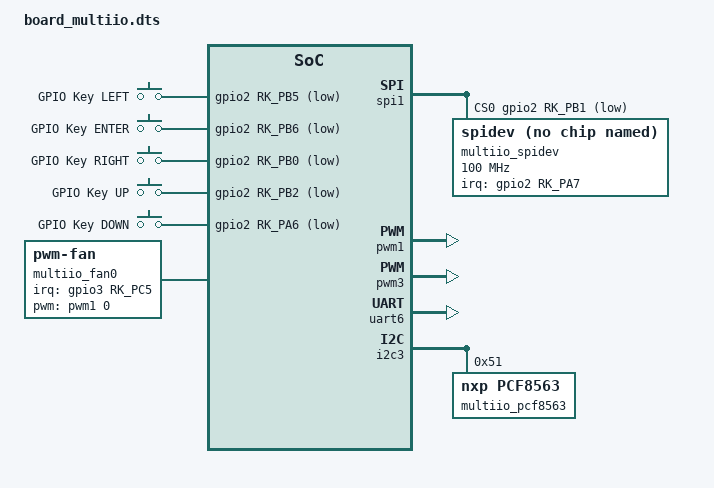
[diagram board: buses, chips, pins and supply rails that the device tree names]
/dts-v1/;
/plugin/;

#include <dt-bindings/gpio/gpio.h>
#include <dt-bindings/pinctrl/rockchip.h>
#include <dt-bindings/interrupt-controller/irq.h>

/ {
	fragment@0 {
		target-path = "/";

		__overlay__ {
			key_pad: key_pad {
				compatible = "gpio-keys";
				autorepeat;

				left { /* SW 3 */
					label = "GPIO Key LEFT";
					linux,code = <105>;
					gpios = <&gpio2 RK_PB5 GPIO_ACTIVE_LOW>;
				};

				enter { /* SW 4 */
					label = "GPIO Key ENTER";
					linux,code = <28>;
					gpios = <&gpio2 RK_PB6 GPIO_ACTIVE_LOW>;
				};

				right { /* SW 5 */
					label = "GPIO Key RIGHT";
					linux,code = <106>;
					gpios = <&gpio2 RK_PB0 GPIO_ACTIVE_LOW>;
				};

				up { /* SW 6 */
					label = "GPIO Key UP";
					linux,code = <103>;
					gpios = <&gpio2 RK_PB2 GPIO_ACTIVE_LOW>;
				};

				down { /* SW 7 */
					label = "GPIO Key DOWN";
					linux,code = <108>;
					gpios = <&gpio2 RK_PA6 GPIO_ACTIVE_LOW>;
				};
			};

			multiio_fan0: pwm-fan {
				status = "okay";
				compatible = "pwm-fan";
				#cooling-cells = <2>;
				cooling-min-state = <0>;
				cooling-max-state = <3>;
				cooling-levels = <0 128 180 240>;
				interrupt-parent = <&gpio3>;
				interrupts = <RK_PC5 IRQ_TYPE_EDGE_FALLING>;
				pulses-per-revolution = <2>;
				pwms = <&pwm1 0 40000 0>;
				rockchip,temp-trips = <
					50000	1
					60000	2
					70000	3
					>;
			};
		};
	};

	fragment@1 {
		target = <&spi1>;

		__overlay__ {
			num_chipselect = <1>;
			cs-gpios = <&gpio2 RK_PB1 GPIO_ACTIVE_LOW>;
		};
	};

	fragment@2 {
		target = <&spi1>;

		__overlay__ {
			status = "okay";
			#address-cells = <1>;
			#size-cells = <0>;

			multiio_spidev: spidev@0 {
				compatible = "rockchip,spidev";
				reg = <0>;
				interrupt-parent = <&gpio2>;
				interrupts = <RK_PA7 IRQ_TYPE_EDGE_FALLING>;
				spi-max-frequency = <100000000>;
				status = "okay";
			};
		};
	};

	fragment@3 {
		target = <&pwm1>;

		__overlay__ {
			status = "okay";
		};
	};

	fragment@4 {
		target = <&pwm3>;

		__overlay__ {
			status = "okay";
		};
	};

	fragment@5 {
		target = <&uart6>;

		__overlay__ {
			status = "okay";
			pinctrl-names = "not_use_it", "default";
		};
	};

	fragment@6 {
		target = <&i2c3>;

		__overlay__ {
			status = "okay";
			#address-cells = <1>;
			#size-cells = <0>;

			multiio_pcf8563: rtc@51 {
				status = "okay";
				compatible = "nxp,pcf8563";
				reg = <0x51>;
			};
		};
	};
};
